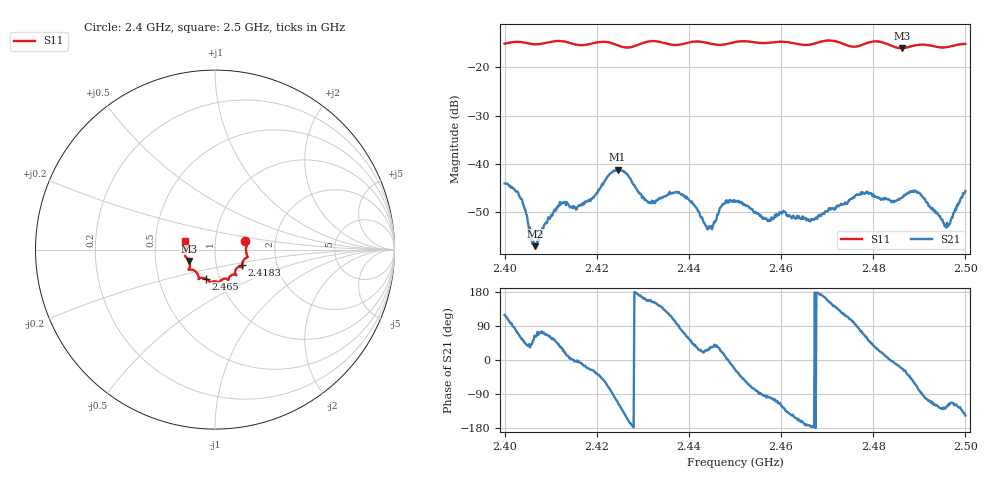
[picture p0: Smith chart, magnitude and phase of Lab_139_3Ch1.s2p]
# Hz S RI R 50
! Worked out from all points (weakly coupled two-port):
!   601 points, 2.4 GHz to 2.5 GHz, reference 50 ohm
!   highest |S21| = -41.16 dB at 2.4245 GHz (marker M1); lowest = -57.0 dB at 2.4067 GHz (marker M2)
!   lowest |S11| = -16.1 dB at 2.4862 GHz (marker M3), VSWR 1.37, Z = 37.2 - j4.79 ohm
!   |S11| at or under -10 dB: start of sweep to end of sweep
!   S12 and S22 are empty: the file has one direction only
!   S11 on the Smith chart (normalised r, x): 2.4 GHz: 1.40, +0.13; 2.4183 GHz: 1.33, -0.24; 2.465 GHz: 0.86, -0.28; 2.5 GHz: 0.71, +0.07
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2.4e9  0.1688 0.0463  -0.00303 0.00551  0 0  0 0
2.403333e9  0.1794 0.0315  0.0021 0.00399  0 0  0 0
2.406667e9  0.1721 0.000999  0.000669 0.00125  0 0  0 0
2.412167e9  0.1816 -0.0416  0.0032 0.00206  0 0  0 0
2.416667e9  0.1545 -0.0679  0.0037 -0.000498  0 0  0 0
2.418333e9  0.1497 -0.0868  0.00379 -0.00165  0 0  0 0
2.4245e9  0.1391 -0.0952  -0.00301 -0.00822  0 0  0 0
2.430833e9  0.1159 -0.1411  -0.0038 0.00164  0 0  0 0
2.433333e9  0.1179 -0.141  -0.00346 0.00251  0 0  0 0
2.438167e9  0.0819 -0.1506  0.000716 0.00484  0 0  0 0
2.4445e9  0.0655 -0.1631  0.00183 0.00117  0 0  0 0
2.447667e9  0.0384 -0.167  0.00378 0.000895  0 0  0 0
2.45e9  0.0255 -0.1799  0.00369 -0.00169  0 0  0 0
2.457167e9  -0.0109 -0.1779  -0.00037 -0.00254  0 0  0 0
2.465e9  -0.0524 -0.1612  -0.00267 -0.000573  0 0  0 0
2.466667e9  -0.0712 -0.1571  -0.00265 -0.000248  0 0  0 0
2.476833e9  -0.1195 -0.1143  0.000587 0.00476  0 0  0 0
2.483333e9  -0.1411 -0.0969  0.00429 0.000191  0 0  0 0
2.486167e9  -0.1437 -0.0629  0.00417 -0.00163  0 0  0 0
2.489667e9  -0.1653 -0.038  0.00132 -0.00498  0 0  0 0
2.496e9  -0.1601 0.016  -0.0013 -0.0021  0 0  0 0
2.5e9  -0.167 0.0467  -0.00437 -0.00289  0 0  0 0
